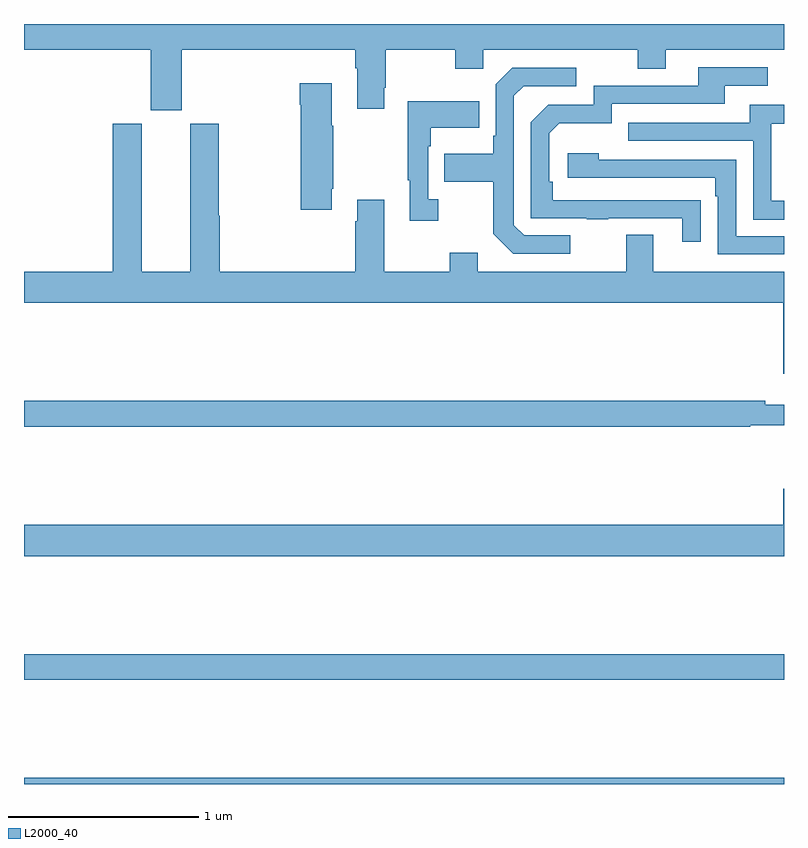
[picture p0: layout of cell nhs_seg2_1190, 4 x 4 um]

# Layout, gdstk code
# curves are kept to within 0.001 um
import gdstk
lib = gdstk.Library(unit=1e-6, precision=1e-09)
def R(c, l, rs):  # rectangles x0, y0, x1, y1
    for r in rs: c.add(gdstk.rectangle(r[:2], r[2:], *l))
def P(c, l, *ps):  # polygons
    for p in ps: c.add(gdstk.Polygon(p, *l))
L2000_40 = (2000, 40)

nhs_seg2_1190 = lib.new_cell('nhs_seg2_1190')
R(nhs_seg2_1190, L2000_40, [(173,615.8,177,615.832), (173,616.348,177,616.484)])
P(nhs_seg2_1190, L2000_40, [(173.83,619.664),(174.743,619.664),(174.743,619.568),(174.755,619.568),(174.755,619.353),(174.895,619.353),(174.895,619.465),(174.903,619.465),(174.903,619.664),(175.27,619.664),(175.27,619.565),(175.416,619.565),(175.416,619.664),(176.23,619.664),(176.23,619.565),(176.377,619.565),(176.377,619.664),(177,619.664),(177,619.8),(173,619.8),(173,619.664),(173.666,619.664),(173.666,619.347),(173.83,619.347)],
  [(176.561,618.872),(175.784,618.873),(175.784,618.97),(175.764,618.97),(175.764,619.224),(175.817,619.277),(176.094,619.277),(176.094,619.38),(176.689,619.38),(176.689,619.476),(176.914,619.476),(176.914,619.572),(176.549,619.572),(176.549,619.476),(175.998,619.476),(175.998,619.374),(175.758,619.374),(175.668,619.284),(175.668,618.777),(175.963,618.777),(175.963,618.772),(176.075,618.772),(176.075,618.777),(176.465,618.777),(176.465,618.654),(176.561,618.654)],
  [(175.876,618.687),(175.632,618.687),(175.578,618.741),(175.578,619.422),(175.629,619.473),(175.906,619.473),(175.906,619.569),(175.569,619.569),(175.482,619.482),(175.482,619.213),(175.47,619.213),(175.47,619.117),(175.213,619.117),(175.213,618.97),(175.47,618.97),(175.47,618.697),(175.575,618.591),(175.876,618.591)],
  [(174.619,618.934),(174.627,618.934),(174.627,619.265),(174.619,619.265),(174.619,619.489),(174.452,619.489),(174.452,619.376),(174.457,619.376),(174.457,618.822),(174.619,618.822)],
  [(175.18,618.878),(175.128,618.878),(175.128,619.157),(175.141,619.157),(175.141,619.253),(175.397,619.253),(175.397,619.393),(175.02,619.393),(175.02,618.977),(175.031,618.977),(175.031,618.765),(175.18,618.765)],
  [(177,618.87),(176.934,618.87),(176.934,619.275),(177,619.275),(177,619.375),(176.819,619.375),(176.819,619.281),(176.179,619.281),(176.179,619.185),(176.838,619.185),(176.838,618.769),(177,618.769)],
  [(177,618.496),(176.311,618.496),(176.311,618.691),(176.171,618.691),(176.171,618.496),(175.387,618.496),(175.387,618.595),(175.24,618.595),(175.24,618.496),(174.895,618.496),(174.895,618.874),(174.755,618.874),(174.755,618.761),(174.743,618.761),(174.743,618.496),(174.029,618.496),(174.029,618.792),(174.024,618.792),(174.024,619.275),(173.876,619.275),(173.876,618.496),(173.62,618.496),(173.62,619.275),(173.468,619.275),(173.468,618.496),(173,618.496),(173,618.332),(176.996,618.332),(176.996,617.958),(177,617.958)],
  [(177,618.684),(176.748,618.684),(176.748,619.086),(176.024,619.086),(176.024,619.12),(175.863,619.12),(175.863,618.99),(176.639,618.99),(176.639,618.893),(176.652,618.893),(176.652,618.588),(177,618.588)],
  [(176.822,617.688),(177,617.688),(177,617.797),(176.9,617.797),(176.9,617.816),(173,617.816),(173,617.68),(176.822,617.68)],
  [(177,617.353),(176.996,617.353),(176.996,617.164),(173,617.164),(173,617),(177,617)])

lib.write_gds('nhs_seg2_1190.gds')
